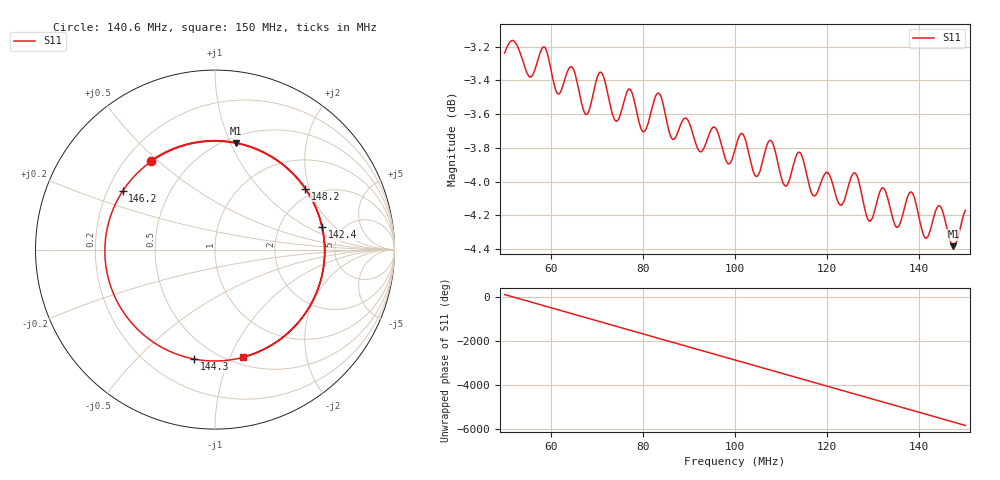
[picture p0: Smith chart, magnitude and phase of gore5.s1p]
! COPPER MOUNTAIN TECHNOLOGIES, PLANAR TR1300/1, 00090118, 19.1.1/1.0
! Date: 11/26/2019 3:50:51 PM
! Data: Format [Calibration Info]
! Freq  S11: Re/Im F1
# HZ S RI R 50
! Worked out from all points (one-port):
!   2001 points, 50 MHz to 150 MHz, reference 50 ohm
!   lowest |S11| = -4.4 dB at 147.4 MHz (marker M1), VSWR 4.05, Z = 28 + j52.2 ohm
!   |S11| at or under -10 dB: nowhere
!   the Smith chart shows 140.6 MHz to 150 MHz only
!   S11 on the Smith chart (normalised r, x): 140.6 MHz: 0.30, +0.47; 142.4 MHz: 3.53, +1.42; 144.3 MHz: 0.38, -0.76; 146.2 MHz: 0.26, +0.27; 148.2 MHz: 1.74, +1.87; 150 MHz: 0.57, -1.11
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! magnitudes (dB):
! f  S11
! 50 MHz  -3.2
! 55.6 MHz  -3.4
! 58.65 MHz  -3.2
! 62.5 MHz  -3.4
! 64.65 MHz  -3.3
! 67.8 MHz  -3.6
! 70.9 MHz  -3.4
! 75 MHz  -3.6
! 77.2 MHz  -3.5
! 80.3 MHz  -3.7
! 83.4 MHz  -3.5
! 87.5 MHz  -3.7
! 100 MHz  -3.8
! 112.5 MHz  -3.9
! 120.2 MHz  -3.9
! 122.9 MHz  -4.1
! 125 MHz  -4.0
! 129.2 MHz  -4.2
! 131.9 MHz  -4.0
! 135.2 MHz  -4.3
! 137.5 MHz  -4.1
! 140.6 MHz  -4.3
! 142.4 MHz  -4.3
! 144.3 MHz  -4.1
! 146.2 MHz  -4.3
! 147.4 MHz  -4.4
! 148.2 MHz  -4.3
! 150 MHz  -4.2
